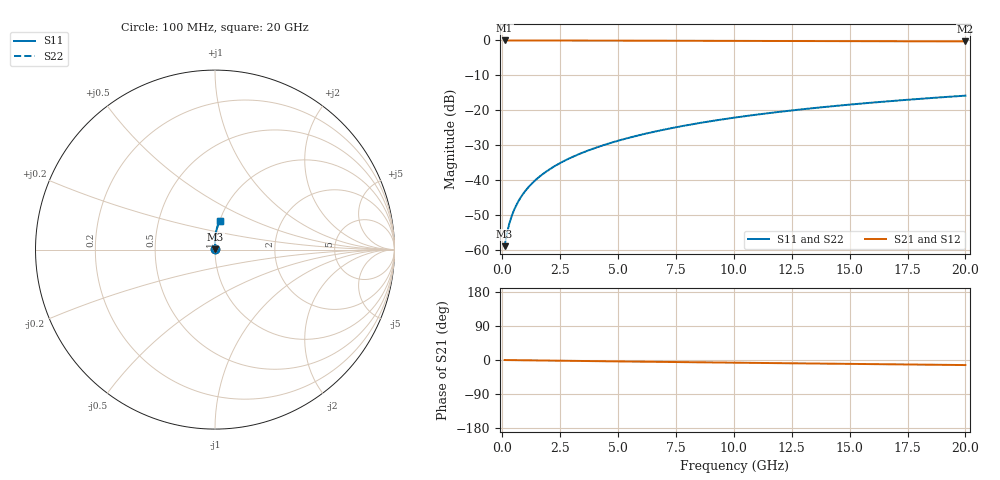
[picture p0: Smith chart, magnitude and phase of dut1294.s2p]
! Touchstone file exported from HFSS 2024.1.0
!  File:  C:/UserFiles/LocalFiles/RDL_TSV_Batchsim/temp_RDL_top_1294_1780243024.aedt
!  Generated:  11:59:17 PM May 31, 2026
!  Design:  RDL_top
!  Project:  temp_RDL_top_1294_1780243024
!  Setup:  Setup1
!  Solution:  Sweep
! Variables:
!  dtsv = 10.80580581um
!  hbump = 3um
!  htsv = 53.98um
!  ldown = 100um
!  lrdl = 139.64um
!  p = 40
!  p1 = 59.78um
!  rhole = 1um
!  t = 450um
!  tdown = 3.915915916um
!  trdl = 3.31um
!  wdown = 15.38538539um
!  wrdl = 25.73um
# GHz S MA R 50.000000
! Terminal data exported
! Port[1] = Box2_T1
! Port[2] = Box2_T2
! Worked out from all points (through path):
!   200 points, 100 MHz to 20 GHz, reference 50 ohm
!   highest |S21| = -0.01 dB at 100 MHz (marker M1); lowest = -0.3 dB at 20 GHz (marker M2)
!   group delay of S21, straight-line fit = 1.83 ps
!   lowest |S11| = -59.0 dB at 100 MHz (marker M3), VSWR 1.00, Z = 50.1 + j0.074 ohm
!   |S11| at or under -10 dB: start of sweep to end of sweep
!   |S22| runs from -59.0 to -15.8 dB; largest |S21 - S12| = 3.6e-15
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0.1  0.001117 41.4  0.9992 -0.1  0.9992 -0.1  0.001117 41.4
! Gamma 0 0 0 0
! Port Impedance 50 0 50 0
0.2  0.001698 59.1  0.9991 -0.2  0.9991 -0.2  0.001698 59.1
0.3  0.002336 67.2  0.9991 -0.2  0.9991 -0.2  0.002336 67.2
0.4  0.002985 71.9  0.999 -0.3  0.999 -0.3  0.002985 71.9
0.5  0.003639 75.0  0.999 -0.4  0.999 -0.4  0.003639 75.0
0.6  0.004296 77.3  0.9989 -0.5  0.9989 -0.5  0.004296 77.3
0.8  0.005623 80.4  0.9988 -0.6  0.9988 -0.6  0.005623 80.4
1.1  0.007641 83.3  0.9986 -0.9  0.9986 -0.9  0.007641 83.3
1.5  0.01038 85.7  0.9983 -1.2  0.9983 -1.2  0.01038 85.7
1.8  0.01246 86.9  0.9981 -1.4  0.9981 -1.4  0.01246 86.9
2.1  0.01457 87.8  0.9978 -1.6  0.9978 -1.6  0.01457 87.8
2.7  0.01887 89.0  0.997 -2.1  0.997 -2.1  0.01887 89.0
3.5  0.02478 90.1  0.9959 -2.7  0.9959 -2.7  0.02478 90.1
4.2  0.03011 90.6  0.9948 -3.2  0.9948 -3.2  0.03011 90.6
5  0.03637 90.8  0.9934 -3.7  0.9934 -3.7  0.03637 90.8
5.9  0.0436 90.8  0.9918 -4.4  0.9918 -4.4  0.0436 90.8
6.8  0.05097 90.5  0.9902 -5.0  0.9902 -5.0  0.05097 90.5
8.4  0.06432 89.7  0.9874 -6.0  0.9874 -6.0  0.06432 89.7
10.1  0.07869 88.5  0.9845 -7.1  0.9845 -7.1  0.07868 88.5
13.4  0.1066 86.0  0.9791 -9.2  0.9791 -9.2  0.1066 86.0
16.7  0.1342 83.4  0.9737 -11.3  0.9737 -11.3  0.1342 83.4
20  0.1613 80.8  0.9681 -13.4  0.9681 -13.4  0.1613 80.8
